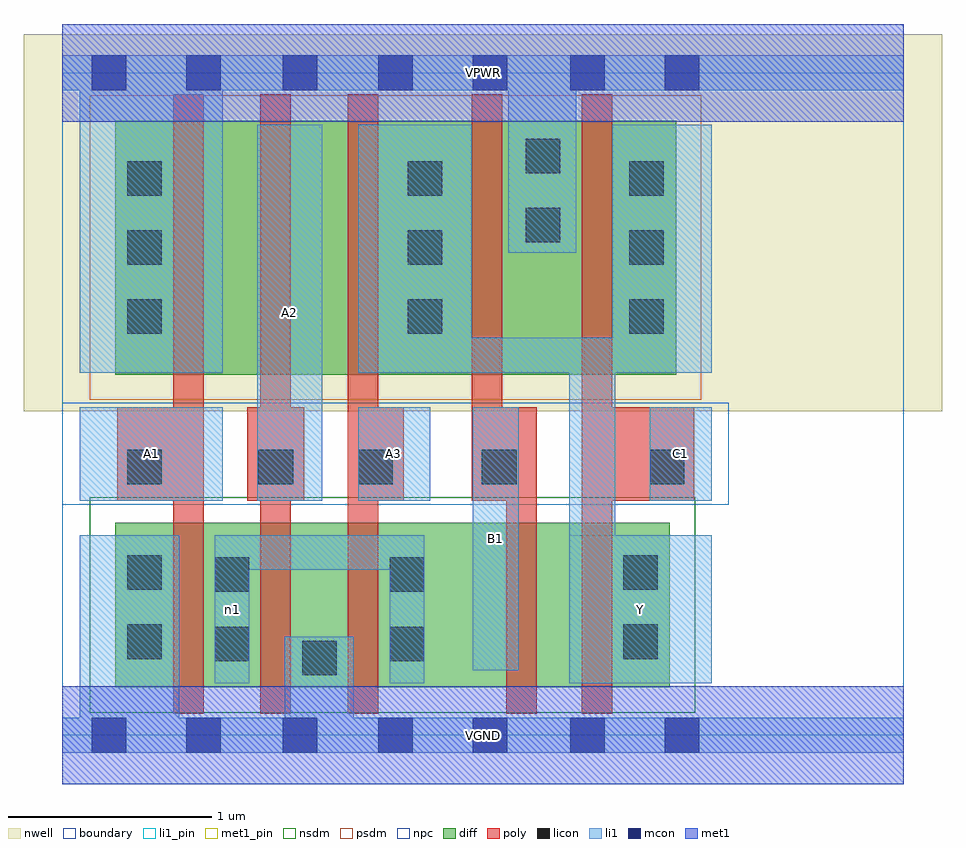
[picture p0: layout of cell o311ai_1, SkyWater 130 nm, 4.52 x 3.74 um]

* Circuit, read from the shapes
.subckt o311ai_1 A1 A2 A3 B1 C1 VGND VPWR Y n1
XM1 n1 A1 VGND VSUBS sky130_fd_pr__nfet_01v8 w=0.81 l=0.15
XM2 VGND A2 n1 VSUBS sky130_fd_pr__nfet_01v8 w=0.81 l=0.15
XM3 n1 A3 VGND VSUBS sky130_fd_pr__nfet_01v8 w=0.81 l=0.15
XM4 n2 B1 n1 VSUBS sky130_fd_pr__nfet_01v8 w=0.81 l=0.15
XM5 Y C1 n2 VSUBS sky130_fd_pr__nfet_01v8 w=0.81 l=0.15
XM6 n3 A1 VPWR n4 sky130_fd_pr__pfet_01v8 w=1.25 l=0.15
XM7 n5 A2 n3 n4 sky130_fd_pr__pfet_01v8 w=1.25 l=0.15
XM8 Y A3 n5 n4 sky130_fd_pr__pfet_01v8 w=1.25 l=0.15
XM9 VPWR B1 Y n4 sky130_fd_pr__pfet_01v8 w=1.25 l=0.15
XM10 Y C1 VPWR n4 sky130_fd_pr__pfet_01v8 w=1.25 l=0.15
.ends

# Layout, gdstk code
import gdstk
lib = gdstk.Library(unit=1e-6, precision=1e-09)
def R(c, l, rs):  # rectangles x0, y0, x1, y1
    for r in rs: c.add(gdstk.rectangle(r[:2], r[2:], *l))
def A(c, l, x, y, w, h, nx, ny, dx, dy):  # array of equal rectangles
    R(c, l, [(x+i*dx, y+j*dy, x+i*dx+w, y+j*dy+h) for i in range(nx) for j in range(ny)])
nwell = (64, 20)
diff = (65, 20)
poly = (66, 20)
licon = (66, 44)
li1_pin = (67, 16)
li1 = (67, 20)
mcon = (67, 44)
met1_pin = (68, 16)
met1 = (68, 20)
nsdm = (93, 44)
psdm = (94, 20)
npc = (95, 20)
boundary = (235, 4)

o311ai_1 = lib.new_cell('o311ai_1')
R(o311ai_1, nwell, [(-0.19,1.595,4.33,3.45), (0,1.595,4.14,3.45)])
R(o311ai_1, diff, [(0.26,0.235,2.99,1.045), (0.26,1.775,3.02,3.025)])
A(o311ai_1, poly, 0.545, 0.105, 0.15, 3.05, 3, 1, 0.43, 0)
R(o311ai_1, poly, [(2.185,0.105,2.335,1.615), (2.555,0.105,2.705,3.155), (0.27,1.155,0.695,1.615), (0.91,1.155,1.19,1.615), (1.405,1.155,1.68,1.615), (2.015,1.155,2.165,3.155), (2.015,1.155,2.335,1.615), (2.555,1.155,3.11,1.615)])
A(o311ai_1, licon, 0.32, 1.975, 0.17, 0.17, 1, 3, 0, 0.34)
A(o311ai_1, licon, 1.7, 1.975, 0.17, 0.17, 1, 3, 0, 0.34)
A(o311ai_1, licon, 2.79, 1.975, 0.17, 0.17, 1, 3, 0, 0.34)
R(o311ai_1, licon, [(1.18,0.295,1.35,0.465), (0.75,0.365,0.92,0.535), (1.61,0.365,1.78,0.535), (0.32,0.375,0.49,0.545), (2.76,0.375,2.93,0.545), (0.75,0.705,0.92,0.875), (1.61,0.705,1.78,0.875), (0.32,0.715,0.49,0.885), (2.76,0.715,2.93,0.885), (0.32,1.235,0.49,1.405), (0.965,1.235,1.135,1.405), (1.455,1.235,1.625,1.405), (2.065,1.235,2.235,1.405), (2.89,1.235,3.06,1.405), (2.28,2.425,2.45,2.595), (2.28,2.765,2.45,2.935)])
R(o311ai_1, li1_pin, [(2.495,0.255,3.195,0.985), (2.02,0.32,2.245,1.615), (0.085,1.155,0.79,1.615), (0.96,1.155,1.28,3.005), (1.455,1.155,1.81,1.615), (2.89,1.155,3.195,1.615)])
R(o311ai_1, li1, [(0,-0.085,4.14,0.085), (0.085,-0.085,0.575,0.985), (1.095,-0.085,1.435,0.485), (0.75,0.255,0.92,0.985), (1.61,0.255,1.78,0.985), (2.495,0.255,3.195,0.985), (2.495,0.255,2.72,1.955), (2.02,0.32,2.245,1.615), (0.75,0.815,1.78,0.985), (0.085,1.155,0.79,1.615), (0.96,1.155,1.28,3.005), (1.455,1.155,1.81,1.615), (2.89,1.155,3.195,1.615), (0.085,1.785,0.79,3.345), (1.455,1.785,2.015,3.005), (1.455,1.785,3.195,1.955), (2.705,1.785,3.195,3.005), (2.195,2.375,2.53,3.345), (0,3.175,4.14,3.345)])
R(o311ai_1, mcon, [(0.145,-0.085,0.315,0.085), (0.61,-0.085,0.78,0.085), (1.085,-0.085,1.255,0.085), (1.555,-0.085,1.725,0.085), (2.02,-0.085,2.19,0.085), (2.5,-0.085,2.67,0.085), (2.965,-0.085,3.135,0.085), (0.145,3.175,0.315,3.345), (0.61,3.175,0.78,3.345), (1.085,3.175,1.255,3.345), (1.555,3.175,1.725,3.345), (2.02,3.175,2.19,3.345), (2.5,3.175,2.67,3.345), (2.965,3.175,3.135,3.345)])
R(o311ai_1, met1_pin, [(0,-0.24,4.14,0.24), (0,3.02,4.14,3.5)])
R(o311ai_1, met1, [(0,-0.24,4.14,0.24), (0,3.02,4.14,3.5)])
R(o311ai_1, nsdm, [(0.135,0.11,3.115,1.17)])
R(o311ai_1, psdm, [(0.135,1.65,3.145,3.15)])
R(o311ai_1, npc, [(0,1.135,3.28,1.635)])
R(o311ai_1, boundary, [(0,0,4.14,3.26)])
o311ai_1.add(gdstk.Label('A1', (0.437,1.385), layer=67, texttype=5))
o311ai_1.add(gdstk.Label('A2', (1.12,2.08), layer=67, texttype=5))
o311ai_1.add(gdstk.Label('A3', (1.632,1.385), layer=67, texttype=5))
o311ai_1.add(gdstk.Label('B1', (2.132,0.967), layer=67, texttype=5))
o311ai_1.add(gdstk.Label('C1', (3.042,1.385), layer=67, texttype=5))
o311ai_1.add(gdstk.Label('Y', (2.845,0.62), layer=67, texttype=5))
o311ai_1.add(gdstk.Label('n1', (0.835,0.62), layer=67, texttype=5))
o311ai_1.add(gdstk.Label('VPWR', (2.07,3.26), layer=68, texttype=5))
o311ai_1.add(gdstk.Label('VGND', (2.07,0), layer=68, texttype=5))
o311ai_1.add(gdstk.Label('A1', (0.437,1.385), layer=67, texttype=16))
o311ai_1.add(gdstk.Label('A2', (1.12,2.08), layer=67, texttype=16))
o311ai_1.add(gdstk.Label('A3', (1.632,1.385), layer=67, texttype=16))
o311ai_1.add(gdstk.Label('B1', (2.132,0.967), layer=67, texttype=16))
o311ai_1.add(gdstk.Label('C1', (3.042,1.385), layer=67, texttype=16))
o311ai_1.add(gdstk.Label('Y', (2.845,0.62), layer=67, texttype=16))
o311ai_1.add(gdstk.Label('VPWR', (2.07,3.26), layer=68, texttype=16))
o311ai_1.add(gdstk.Label('VGND', (2.07,0), layer=68, texttype=16))

lib.write_gds('o311ai_1.gds')
